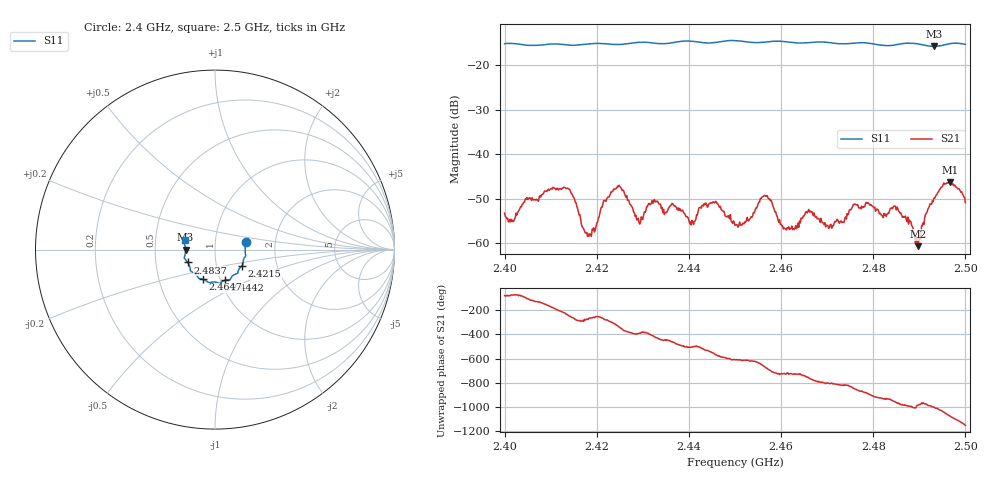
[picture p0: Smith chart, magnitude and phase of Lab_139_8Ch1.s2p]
# Hz S RI R 50
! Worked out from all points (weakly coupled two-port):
!   601 points, 2.4 GHz to 2.5 GHz, reference 50 ohm
!   highest |S21| = -46.24 dB at 2.4967 GHz (marker M1); lowest = -60.6 dB at 2.4897 GHz (marker M2)
!   lowest |S11| = -15.7 dB at 2.4932 GHz (marker M3), VSWR 1.39, Z = 35.9 - j0.0503 ohm
!   |S11| at or under -10 dB: start of sweep to end of sweep
!   S12 and S22 are empty: the file has one direction only
!   S11 on the Smith chart (normalised r, x): 2.4 GHz: 1.41, +0.12; 2.4215 GHz: 1.33, -0.25; 2.4442 GHz: 1.05, -0.37; 2.4647 GHz: 0.83, -0.28; 2.4837 GHz: 0.73, -0.11; 2.5 GHz: 0.71, +0.08
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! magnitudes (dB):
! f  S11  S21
! 2.4 GHz  -15.1  -53.2
! 2.4132 GHz  -15.3  -47.5
! 2.4167 GHz  -15.3  -55.7
! 2.4185 GHz  -15.1  -57.8
! 2.4215 GHz  -15.1  -50.4
! 2.425 GHz  -15.3  -47.3
! 2.4292 GHz  -14.8  -55.4
! 2.4333 GHz  -15.1  -50.8
! 2.4407 GHz  -14.6  -54.8
! 2.4442 GHz  -15.0  -51.7
! 2.45 GHz  -14.4  -55.9
! 2.4565 GHz  -14.8  -49.2
! 2.4607 GHz  -14.6  -56.5
! 2.4647 GHz  -15.0  -54.3
! 2.4667 GHz  -14.8  -52.9
! 2.4708 GHz  -14.9  -55.7
! 2.4833 GHz  -15.6  -53.3
! 2.4837 GHz  -15.5  -52.3
! 2.4897 GHz  -15.1  -60.6
! 2.4932 GHz  -15.7  -49.9
! 2.4967 GHz  -15.1  -46.2
! 2.5 GHz  -15.3  -50.9
